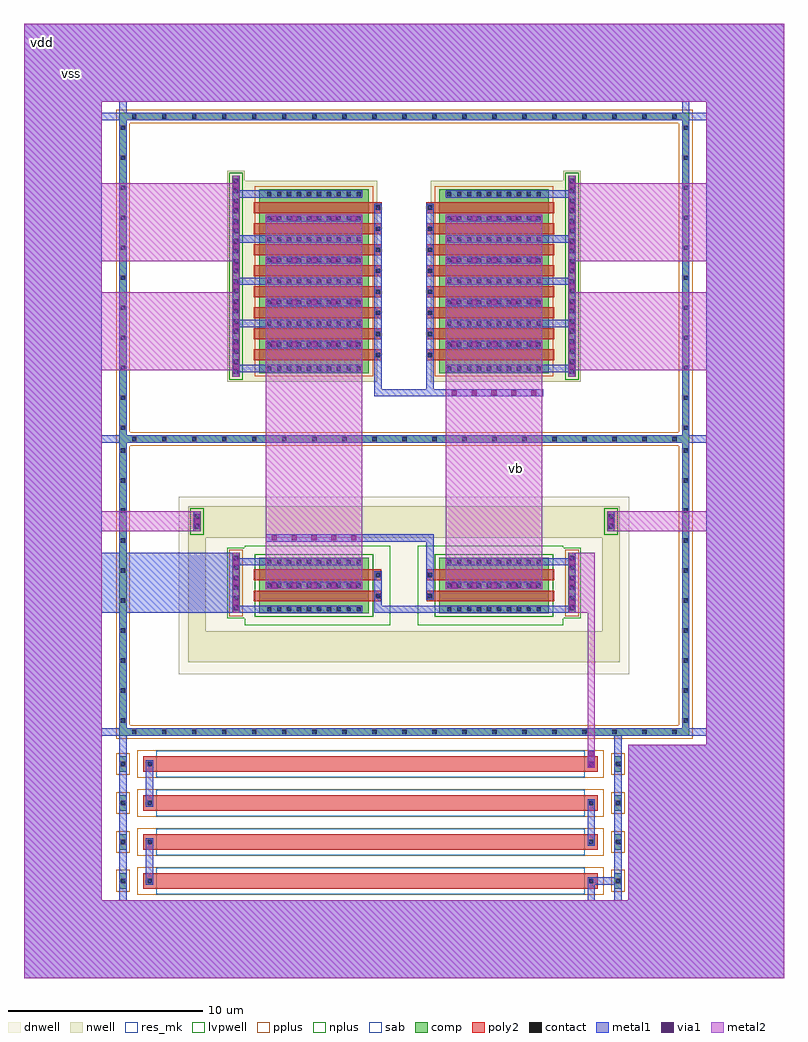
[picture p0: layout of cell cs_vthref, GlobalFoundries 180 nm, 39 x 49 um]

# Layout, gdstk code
from math import pi, radians
import gdstk
lib = gdstk.Library(unit=1e-6, precision=5e-09)
def R(c, l, rs):  # rectangles x0, y0, x1, y1
    for r in rs: c.add(gdstk.rectangle(r[:2], r[2:], *l))
def A(c, l, x, y, w, h, nx, ny, dx, dy):  # array of equal rectangles
    R(c, l, [(x+i*dx, y+j*dy, x+i*dx+w, y+j*dy+h) for i in range(nx) for j in range(ny)])
dnwell = (12, 0)
nwell = (21, 0)
comp = (22, 0)
poly2 = (30, 0)
pplus = (31, 0)
nplus = (32, 0)
contact = (33, 0)
metal1 = (34, 0)
via1 = (35, 0)
metal2 = (36, 0)
sab = (49, 0)
res_mk = (110, 5)
lvpwell = (204, 0)

ppolyf_u_resistor_1_1 = lib.new_cell('ppolyf_u_resistor$1$1')
R(ppolyf_u_resistor_1_1, comp, [(-1.88,0,-1.52,0.8)])
R(ppolyf_u_resistor_1_1, poly2, [(-0.66,0,22.66,0.8)])
R(ppolyf_u_resistor_1_1, pplus, [(-0.96,-0.3,22.96,1.1)])
R(ppolyf_u_resistor_1_1, contact, [(-0.44,0.29,-0.22,0.51), (22.22,0.29,22.44,0.51)])
R(ppolyf_u_resistor_1_1, metal1, [(-0.52,0.21,-0.14,0.59), (22.14,0.21,22.52,0.59)])
R(ppolyf_u_resistor_1_1, sab, [(0,-0.28,22,1.08)])
R(ppolyf_u_resistor_1_1, res_mk, [(0,0,22,0.8)])

pg_mesh_1 = lib.new_cell('pg_mesh$1')
R(pg_mesh_1, metal1, [(-0.5,-0.5,0.5,0.5), (-0.5,-0.5,0.5,0.5)])
R(pg_mesh_1, metal2, [(-0.5,-0.5,0.5,0.5), (-0.5,-0.5,0.5,0.5)])

nfet_7 = lib.new_cell('nfet$7')
R(nfet_7, dnwell, [(-3.55,-3.26,5.57,9.23)])
R(nfet_7, comp, [(-0.42,0,0,5.6), (0,0,2.02,5.6), (2.02,0,2.44,5.6)])
R(nfet_7, poly2, [(0.19,-0.3,0.75,5.9), (1.27,-0.3,1.83,5.9), (0.19,5.9,0.75,6.26), (1.27,5.9,1.83,6.26)])
R(nfet_7, nplus, [(-0.59,-0.24,2.61,5.84)])
A(nfet_7, contact, -0.32, 0.395, 0.22, 0.22, 3, 10, 1.22, 0.51)
R(nfet_7, contact, [(0.36,5.97,0.58,6.19), (1.44,5.97,1.66,6.19)])
A(nfet_7, metal1, -0.4, 0.315, 0.38, 4.97, 3, 1, 1.22, 0)
R(nfet_7, metal1, [(0.28,5.89,0.66,6.27), (1.36,5.89,1.74,6.27)])
R(nfet_7, lvpwell, [(-1.04,-0.75,3.06,6.72)])

cnt = lib.new_cell('cnt')
R(cnt, contact, [(-0.11,-0.11,0.11,0.11)])

via1_1 = lib.new_cell('via1$1')
R(via1_1, via1, [(-0.13,-0.13,0.13,0.13)])

backgate_p = lib.new_cell('backgate_p')
R(backgate_p, comp, [(-0.19,-0.26,0.19,0.77)])
R(backgate_p, pplus, [(-0.35,-0.42,0.35,0.93)])
R(backgate_p, metal1, [(-0.16,-0.26,0.16,0.77)])
R(backgate_p, metal2, [(-0.16,-0.26,0.16,0.77)])
R(backgate_p, lvpwell, [(-0.45,-0.52,0.45,1.03)])
r = gdstk.Reference(cnt, (0,0)); r.repetition = gdstk.Repetition(1, 2, v1=(0,0), v2=(0,0.51)); backgate_p.add(r)
backgate_p.add(gdstk.Reference(via1_1, (0,0.255)))

ptap = lib.new_cell('ptap')
R(ptap, comp, [(-2.095,0.05,-1.735,0.85)])
R(ptap, pplus, [(-2.25,-0.11,-1.57,1.01)])
R(ptap, contact, [(-2.025,0.34,-1.805,0.56)])
R(ptap, metal1, [(-2.105,0.26,-1.725,0.64)])

pfet_1_1 = lib.new_cell('pfet$1$1')
R(pfet_1_1, nwell, [(-0.9,-0.44,9.4,6.04)])
R(pfet_1_1, comp, [(-0.46,0,0,5.6), (0,0,8.5,5.6), (8.5,0,8.96,5.6)])
A(pfet_1_1, poly2, 0.19, -0.3, 0.56, 6.2, 8, 1, 1.08, 0)
A(pfet_1_1, poly2, 0.19, 5.9, 0.56, 0.38, 8, 1, 1.08, 0)
R(pfet_1_1, pplus, [(-0.63,-0.24,9.13,5.84)])
A(pfet_1_1, contact, -0.34, 0.395, 0.22, 0.22, 1, 10, 0, 0.51)
A(pfet_1_1, contact, 0.9, 0.395, 0.22, 0.22, 7, 10, 1.08, 0.51)
A(pfet_1_1, contact, 8.62, 0.395, 0.22, 0.22, 1, 10, 0, 0.51)
A(pfet_1_1, contact, 0.36, 5.98, 0.22, 0.22, 8, 1, 1.08, 0)
A(pfet_1_1, metal1, 0.82, 0.315, 0.38, 4.97, 7, 1, 1.08, 0)
A(pfet_1_1, metal1, 0.28, 5.9, 0.38, 0.38, 8, 1, 1.08, 0)
R(pfet_1_1, metal1, [(-0.42,0.315,-0.04,5.285), (8.54,0.315,8.92,5.285)])

tap_psub_1 = lib.new_cell('tap_psub$1')
R(tap_psub_1, comp, [(-0.19,-0.77,0.19,0.77)])
R(tap_psub_1, pplus, [(-0.35,-0.93,0.35,0.93)])
R(tap_psub_1, contact, [(-0.11,-0.11,0.11,0.11)])
R(tap_psub_1, metal1, [(-0.19,-0.77,0.19,0.77)])

backgate_n_2 = lib.new_cell('backgate_n$2')
R(backgate_n_2, nwell, [(-0.45,-0.52,0.45,1.03)])
R(backgate_n_2, comp, [(-0.19,-0.26,0.19,0.77)])
R(backgate_n_2, nplus, [(-0.35,-0.42,0.35,0.93)])
R(backgate_n_2, contact, [(-0.11,-0.11,0.11,0.11), (-0.11,0.4,0.11,0.62)])
R(backgate_n_2, metal1, [(-0.16,-0.26,0.16,0.77)])
R(backgate_n_2, metal2, [(-0.16,-0.26,0.16,0.77)])
backgate_n_2.add(gdstk.Reference(via1_1, (0,0.255)))

m1_source = lib.new_cell('m1_source')
R(m1_source, metal1, [(-0.68,-0.19,0.68,0.19)])

m12_sd_1 = lib.new_cell('m12_sd$1')
R(m12_sd_1, metal2, [(-5.185,0.75,-0.215,1.13)])
r = gdstk.Reference(via1_1, (-4.74,0.94)); r.repetition = gdstk.Repetition(5, 1, v1=(1.02,0), v2=(0,0)); m12_sd_1.add(r)

cs_vthref = lib.new_cell('cs_vthref')
R(cs_vthref, dnwell, [(-23.57,-6.895,-20.17,2.225), (-3.83,-6.895,-0.43,2.225)])
R(cs_vthref, nwell, [(-20.17,8.125,-19.86,18.425), (-4.14,8.125,-3.83,18.425)])
R(cs_vthref, metal1, [(-2.58,-11.685,-2.2,-10.78), (-13.53,-3.745,-13.15,-1.605), (-13.53,-3.745,-9.865,-3.365)])
R(cs_vthref, metal2, [(-3.22,-3.745,-2.2,-0.655)])
cs_vthref.add(gdstk.FlexPath([(-29.5,-22.5),(-29.5,24.5),(5.5,24.5),(5.5,-20.5),(-27.5,-20.5)], 4, ends="flush", simple_path=True, layer=36, datatype=0))  # metal2
cs_vthref.add(gdstk.FlexPath([(-7.38,16.705),(-7.38,-2.525)], 4.97, ends="flush", simple_path=True, layer=36, datatype=0))  # metal2
cs_vthref.add(gdstk.FlexPath([(-16.62,16.705),(-16.62,-2.525)], 4.97, ends="flush", simple_path=True, layer=36, datatype=0))  # metal2
cs_vthref.add(gdstk.FlexPath([(-27.7,16.3),(-20.78,16.3)], 4, ends="flush", simple_path=True, layer=36, datatype=0))  # metal2
cs_vthref.add(gdstk.FlexPath([(-27.7,10.7),(-20.78,10.7)], 4, ends="flush", simple_path=True, layer=36, datatype=0))  # metal2
cs_vthref.add(gdstk.FlexPath([(-3.22,10.7),(3.7,10.7)], 4, ends="flush", simple_path=True, layer=36, datatype=0))  # metal2
cs_vthref.add(gdstk.FlexPath([(-3.22,16.3),(3.7,16.3)], 4, ends="flush", simple_path=True, layer=36, datatype=0))  # metal2
cs_vthref.add(gdstk.FlexPath([(-2.39,-11.685),(-2.39,-0.655)], 0.38, ends="flush", simple_path=True, layer=36, datatype=0))  # metal2
cs_vthref.add(gdstk.FlexPath([(-1.54,0.95),(3.5,0.95)], 1.03, ends="flush", simple_path=True, layer=36, datatype=0))  # metal2
cs_vthref.add(gdstk.FlexPath([(-27.82,0.95),(-22.78,0.95)], 1.03, ends="flush", simple_path=True, layer=36, datatype=0))  # metal2
cs_vthref.add(gdstk.FlexPath([(-29.5,-22.5),(-29.5,24.5),(5.5,24.5),(5.5,-20.5),(-27.5,-20.5)], 4, ends="flush", simple_path=True, layer=34, datatype=0))  # metal1
cs_vthref.add(gdstk.FlexPath([(-13.33,17.245),(-13.33,7.555),(-4.865,7.555)], 0.38, ends="flush", simple_path=True, layer=34, datatype=0))  # metal1
cs_vthref.add(gdstk.FlexPath([(-10.67,17.245),(-10.67,7.365)], 0.38, ends="flush", simple_path=True, layer=34, datatype=0))  # metal1
cs_vthref.add(gdstk.FlexPath([(-19.105,0.105),(-10.66,0.105),(-10.66,-3.065)], 0.38, ends="flush", simple_path=True, layer=34, datatype=0))  # metal1
cs_vthref.add(gdstk.FlexPath([(-1.02,-10.035),(-1.02,-18.7)], 0.38, ends="flush", simple_path=True, layer=34, datatype=0))  # metal1
cs_vthref.add(gdstk.FlexPath([(-27.7,-2.2),(-20.78,-2.2)], 3.09, ends="flush", simple_path=True, layer=34, datatype=0))  # metal1
cs_vthref.add(gdstk.FlexPath([(-26.42,-10.035),(-26.42,-18.7)], 0.38, ends="flush", simple_path=True, layer=34, datatype=0))  # metal1
cs_vthref.add(gdstk.FlexPath([(-25.05,-11.305),(-25.05,-13.685)], 0.38, ends="flush", simple_path=True, layer=34, datatype=0))  # metal1
cs_vthref.add(gdstk.FlexPath([(-25.05,-15.305),(-25.05,-17.685)], 0.38, ends="flush", simple_path=True, layer=34, datatype=0))  # metal1
cs_vthref.add(gdstk.FlexPath([(-2.39,-13.305),(-2.39,-15.685)], 0.38, ends="flush", simple_path=True, layer=34, datatype=0))  # metal1
cs_vthref.add(gdstk.FlexPath([(-2.58,-17.495),(-1.075,-17.495)], 0.38, ends="flush", simple_path=True, layer=34, datatype=0))  # metal1
cs_vthref.add(gdstk.FlexPath([(-27.5,-9.845),(-26.61,-9.845)], 0.38, ends="flush", simple_path=True, layer=34, datatype=0))  # metal1
cs_vthref.add(gdstk.FlexPath([(-27.5,5.175),(-26.61,5.175)], 0.38, ends="flush", simple_path=True, layer=34, datatype=0))  # metal1
cs_vthref.add(gdstk.FlexPath([(-27.5,21.735),(-26.61,21.735)], 0.38, ends="flush", simple_path=True, layer=34, datatype=0))  # metal1
cs_vthref.add(gdstk.FlexPath([(2.65,-9.845),(3.54,-9.845)], 0.38, ends="flush", simple_path=True, layer=34, datatype=0))  # metal1
cs_vthref.add(gdstk.FlexPath([(2.65,5.175),(3.54,5.175)], 0.38, ends="flush", simple_path=True, layer=34, datatype=0))  # metal1
cs_vthref.add(gdstk.FlexPath([(2.65,21.735),(3.54,21.735)], 0.38, ends="flush", simple_path=True, layer=34, datatype=0))  # metal1
cs_vthref.add(gdstk.FlexPath([(-26.42,22.51),(-26.42,21.925)], 0.38, ends="flush", simple_path=True, layer=34, datatype=0))  # metal1
cs_vthref.add(gdstk.FlexPath([(-26.42,22.5),(-26.42,21.925)], 0.38, ends="flush", simple_path=True, layer=34, datatype=0))  # metal1
cs_vthref.add(gdstk.FlexPath([(2.46,22.5),(2.46,21.925)], 0.38, ends="flush", simple_path=True, layer=34, datatype=0))  # metal1
cs_vthref.add(gdstk.FlexPath([(-2.39,-17.305),(-2.39,-18.5)], 0.38, ends="flush", simple_path=True, layer=34, datatype=0))  # metal1
cs_vthref.add(gdstk.FlexPath([(-23.07,0.925),(-0.93,0.925)], 1.6, ends="flush", simple_path=True, layer=21, datatype=0))  # nwell
cs_vthref.add(gdstk.FlexPath([(-23.07,-5.485),(-0.93,-5.485)], 1.6, ends="flush", simple_path=True, layer=21, datatype=0))  # nwell
cs_vthref.add(gdstk.FlexPath([(-1.38,1.725),(-1.38,-5.795)], 0.9, ends="flush", simple_path=True, layer=21, datatype=0))  # nwell
cs_vthref.add(gdstk.FlexPath([(-22.62,1.725),(-22.62,-5.715)], 0.9, ends="flush", simple_path=True, layer=21, datatype=0))  # nwell
r = gdstk.Reference(ppolyf_u_resistor_1_1, (-24.72,-17.895)); r.repetition = gdstk.Repetition(1, 4, v1=(0,0), v2=(0,2)); cs_vthref.add(r)
r = gdstk.Reference(pg_mesh_1, (-28,-19), rotation=pi/2); r.repetition = gdstk.Repetition(43, 1, v1=(0,1), v2=(0,0)); cs_vthref.add(r)
r = gdstk.Reference(pg_mesh_1, (3,-19), rotation=pi/2); r.repetition = gdstk.Repetition(1, 31, v1=(0,0), v2=(-1,0)); cs_vthref.add(r)
r = gdstk.Reference(pg_mesh_1, (4,-19), rotation=pi/2); r.repetition = gdstk.Repetition(43, 1, v1=(0,1), v2=(0,0)); cs_vthref.add(r)
r = gdstk.Reference(nfet_7, (-19.42,-3.345), rotation=pi/2, x_reflection=True); r.repetition = gdstk.Repetition(1, 1, v1=(0,0), v2=(0,0)); cs_vthref.add(r)
r = gdstk.Reference(backgate_p, (-20.62,-3.485)); r.repetition = gdstk.Repetition(1, 3, v1=(0,0), v2=(0,1.03)); cs_vthref.add(r)
r = gdstk.Reference(ptap, (-24.51,-17.945)); r.repetition = gdstk.Repetition(2, 4, v1=(25.4,0), v2=(0,2)); cs_vthref.add(r)
r = gdstk.Reference(backgate_p, (-3.38,-3.485)); r.repetition = gdstk.Repetition(1, 3, v1=(0,0), v2=(0,1.03)); cs_vthref.add(r)
cs_vthref.add(gdstk.Reference(pfet_1_1, (-4.58,9.025), rotation=pi/2))
r = gdstk.Reference(tap_psub_1, (-26.42,-9.265)); r.repetition = gdstk.Repetition(1, 10, v1=(0,0), v2=(0,1.54)); cs_vthref.add(r)
r = gdstk.Reference(tap_psub_1, (1.88,-9.845), rotation=pi/2); r.repetition = gdstk.Repetition(1, 19, v1=(0,0), v2=(-1.54,0)); cs_vthref.add(r)
r = gdstk.Reference(tap_psub_1, (2.46,-9.265)); r.repetition = gdstk.Repetition(1, 10, v1=(0,0), v2=(0,1.54)); cs_vthref.add(r)
r = gdstk.Reference(tap_psub_1, (1.88,5.175), rotation=pi/2); r.repetition = gdstk.Repetition(1, 19, v1=(0,0), v2=(-1.54,0)); cs_vthref.add(r)
cs_vthref.add(gdstk.Reference(pfet_1_1, (-19.42,9.025), rotation=pi/2, x_reflection=True))
r = gdstk.Reference(backgate_n_2, (-3.38,8.645)); r.repetition = gdstk.Repetition(1, 10, v1=(0,0), v2=(0,1.03)); cs_vthref.add(r)
r = gdstk.Reference(backgate_n_2, (-20.62,8.645)); r.repetition = gdstk.Repetition(1, 10, v1=(0,0), v2=(0,1.03)); cs_vthref.add(r)
r = gdstk.Reference(tap_psub_1, (-26.42,5.755)); r.repetition = gdstk.Repetition(1, 11, v1=(0,0), v2=(0,1.54)); cs_vthref.add(r)
r = gdstk.Reference(tap_psub_1, (1.88,21.735), rotation=pi/2); r.repetition = gdstk.Repetition(1, 19, v1=(0,0), v2=(-1.54,0)); cs_vthref.add(r)
r = gdstk.Reference(tap_psub_1, (2.46,5.755)); r.repetition = gdstk.Repetition(1, 11, v1=(0,0), v2=(0,1.54)); cs_vthref.add(r)
r = gdstk.Reference(pg_mesh_1, (4,23), rotation=pi/2); r.repetition = gdstk.Repetition(1, 32, v1=(0,0), v2=(-1,0)); cs_vthref.add(r)
r = gdstk.Reference(m1_source, (-4.215,-3.555)); r.repetition = gdstk.Repetition(1, 2, v1=(0,0), v2=(0,2.44)); cs_vthref.add(r)
r = gdstk.Reference(m1_source, (-19.785,-3.555)); r.repetition = gdstk.Repetition(1, 2, v1=(0,0), v2=(0,2.44)); cs_vthref.add(r)
r = gdstk.Reference(m1_source, (-4.215,11.115)); r.repetition = gdstk.Repetition(1, 3, v1=(0,0), v2=(0,2.16)); cs_vthref.add(r)
r = gdstk.Reference(m1_source, (-4.215,8.795)); r.repetition = gdstk.Repetition(1, 2, v1=(0,0), v2=(0,8.96)); cs_vthref.add(r)
r = gdstk.Reference(m1_source, (-19.785,11.115)); r.repetition = gdstk.Repetition(1, 3, v1=(0,0), v2=(0,2.16)); cs_vthref.add(r)
r = gdstk.Reference(m1_source, (-19.785,8.795)); r.repetition = gdstk.Repetition(1, 2, v1=(0,0), v2=(0,8.96)); cs_vthref.add(r)
cs_vthref.add(gdstk.Reference(m12_sd_1, (-4.68,-3.275)))
cs_vthref.add(gdstk.Reference(m12_sd_1, (-13.92,-3.275)))
r = gdstk.Reference(m12_sd_1, (-13.92,9.095)); r.repetition = gdstk.Repetition(1, 4, v1=(0,0), v2=(0,2.16)); cs_vthref.add(r)
r = gdstk.Reference(m12_sd_1, (-4.68,9.095)); r.repetition = gdstk.Repetition(1, 4, v1=(0,0), v2=(0,2.16)); cs_vthref.add(r)
cs_vthref.add(gdstk.Reference(m12_sd_1, (-4.68,6.615)))
cs_vthref.add(gdstk.Reference(m12_sd_1, (-13.92,-0.835)))
r = gdstk.Reference(pg_mesh_1, (0,-18)); r.repetition = gdstk.Repetition(4, 8, v1=(1,0), v2=(0,1)); cs_vthref.add(r)
cs_vthref.add(gdstk.Reference(backgate_n_2, (-1.38,0.695)))
r = gdstk.Reference(nfet_7, (-4.58,-3.345), rotation=pi/2); r.repetition = gdstk.Repetition(1, 1, v1=(0,0), v2=(0,0)); cs_vthref.add(r)
cs_vthref.add(gdstk.Reference(backgate_n_2, (-22.62,0.695)))
r = gdstk.Reference(via1_1, (-2.39,-11.495)); r.repetition = gdstk.Repetition(1, 2, v1=(0,0), v2=(0,0.52)); cs_vthref.add(r)
cs_vthref.add(gdstk.Label('vdd', (-30.53,25.505), layer=36, texttype=10))
cs_vthref.add(gdstk.Label('vb', (-6.245,3.685), layer=36, texttype=10))
cs_vthref.add(gdstk.Label('vss', (-29.07,23.925), layer=34, texttype=10))

lib.write_gds('cs_vthref.gds')
